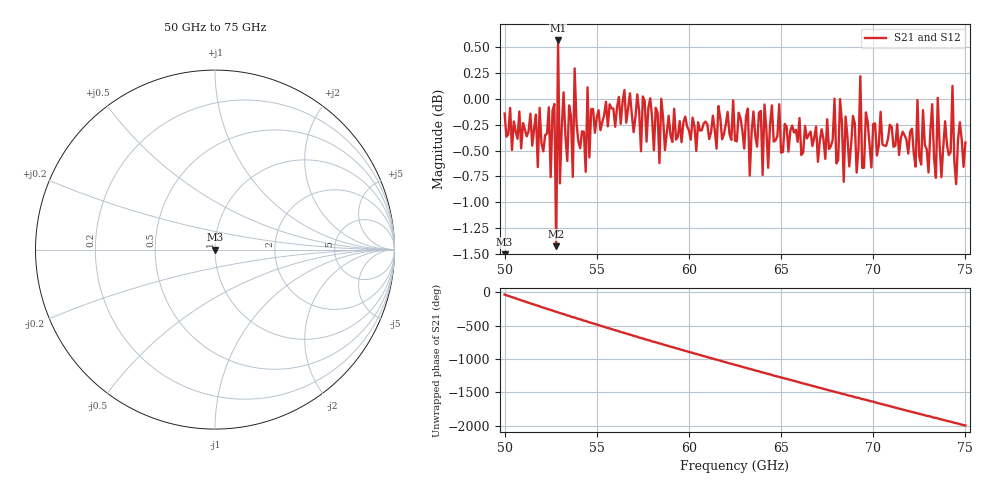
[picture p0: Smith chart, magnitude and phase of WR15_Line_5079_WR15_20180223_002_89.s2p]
# GHZ S RI R 50
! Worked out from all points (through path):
!   251 points, 50 GHz to 75 GHz, reference 50 ohm
!   highest |S21| = 0.57 dB at 52.9 GHz (marker M1); lowest = -1.4 dB at 52.8 GHz (marker M2)
!   lowest |S11| = - dB at 50 GHz (marker M3), VSWR 1.00, Z = 50 - j2.18e-16 ohm
!   |S11| at or under -10 dB: start of sweep to end of sweep
!   |S22| runs from - to - dB; largest |S21 - S12| = 2.3e-15
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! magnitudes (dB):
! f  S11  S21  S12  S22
! 50 GHz  -  -0.1  -0.1  -
! 51.8 GHz  -  -0.7  -0.7  -
! 52.4 GHz  -  -0.1  -0.1  -
! 52.5 GHz  -  -0.8  -0.8  -
! 52.7 GHz  -  0.0  0.0  -
! 52.8 GHz  -  -1.4  -1.4  -
! 52.9 GHz  -  0.6  0.6  -
! 53 GHz  -  -0.8  -0.8  -
! 53.2 GHz  -  0.1  0.1  -
! 53.7 GHz  -  -0.8  -0.8  -
! 53.8 GHz  -  0.3  0.3  -
! 54.2 GHz  -  -0.3  -0.3  -
! 57.9 GHz  -  0.0  0.0  -
! 58.4 GHz  -  -0.6  -0.6  -
! 58.5 GHz  -  0.0  0.0  -
! 62.5 GHz  -  -0.4  -0.4  -
! 66.7 GHz  -  -0.5  -0.5  -
! 69.1 GHz  -  -0.7  -0.7  -
! 69.3 GHz  -  0.2  0.2  -
! 69.4 GHz  -  -0.7  -0.7  -
! 70.9 GHz  -  -0.3  -0.3  -
! 75 GHz  -  -0.4  -0.4  -
